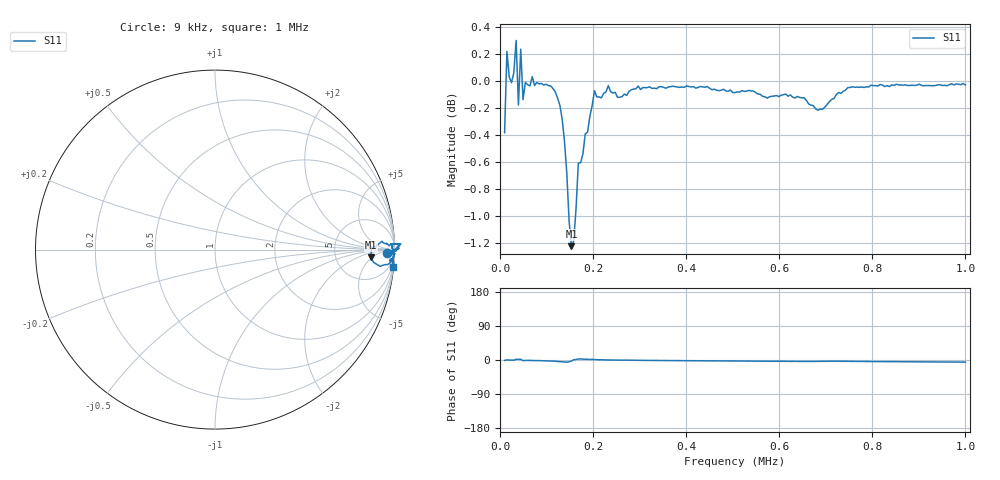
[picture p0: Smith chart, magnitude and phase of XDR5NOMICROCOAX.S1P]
!Agilent Technologies,E5071C,MY46100305,A.07.02
!Date: Fri Jan 01 00:23:40 1988
!Data & Calibration Information:
!Freq	S11:SOLT1(ON)
# Hz S MA R 50
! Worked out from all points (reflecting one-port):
!   201 points, 9 kHz to 1 MHz, reference 50 ohm
!   lowest |S11| = -1.2 dB at 152.7 kHz (marker M1), VSWR 14.19, Z = 632 - j221 ohm
!   phase of S11 starts at -1 deg and turns -4 deg over the sweep
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9000  0.9568 -1.2
13955  1.026 0.4
18910  1.003 -0.3
28820  1.007 -0.5
33775  1.035 1.8
38730  0.9797 1.8
43685  1.028 1.6
48640  0.9842 -1.5
53595  0.9989 -1.2
68460  1.004 -1.3
108100  0.9959 -2.6
132875  0.9678 -4.9
142785  0.9241 -5.8
152695  0.8684 -2.8
157650  0.8724 0.7
162605  0.8965 1.2
167560  0.9322 2.9
177470  0.9397 2.3
202245  0.9918 1.0
256750  0.9863 -0.5
380625  0.995 -1.8
504500  0.9902 -2.8
628375  0.9864 -3.5
682880  0.9754 -3.6
712610  0.9845 -3.0
752250  0.9945 -3.5
876125  0.9962 -4.6
1000000  0.9967 -5.5
